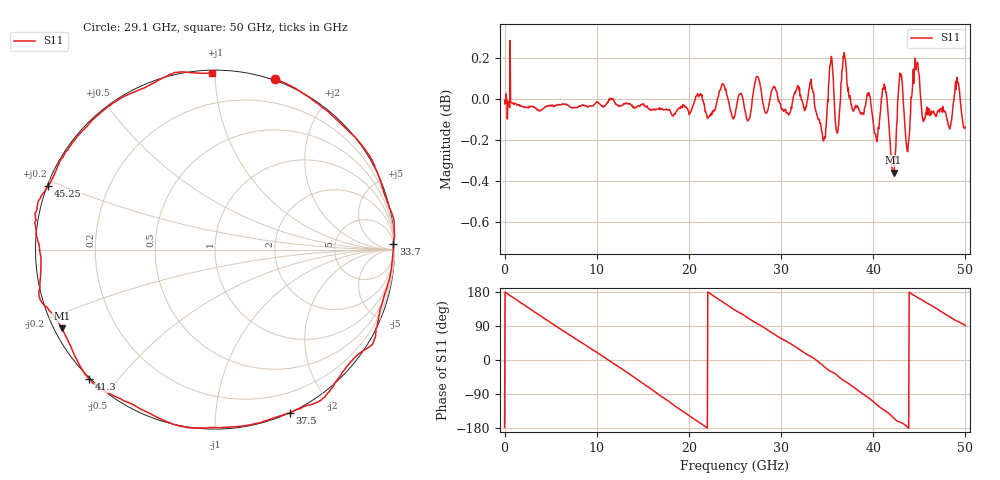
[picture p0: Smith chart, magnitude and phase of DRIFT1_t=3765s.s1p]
!Created with skrf (http://scikit-rf.org).
# Hz S RI R 50.0
!freq ReS11 ImS11
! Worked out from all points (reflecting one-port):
!   1001 points, 300 kHz to 50 GHz, reference 50 ohm
!   lowest |S11| = -0.4 dB at 42.2 GHz (marker M1), VSWR 48.56, Z = 1.09 - j12.1 ohm
!   phase of S11 starts at -178 deg and turns -811 deg over the sweep
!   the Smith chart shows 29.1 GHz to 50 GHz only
!   S11 on the Smith chart (normalised r, x): 29.1 GHz: -0.01, +1.41; 33.7 GHz: 10, +61; 37.5 GHz: -0.00, -1.56; 41.3 GHz: -0.00, -0.42; 45.25 GHz: 0.00, +0.19; 50 GHz: 0.02, +0.98
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300000  -0.9965 -0.0362
1.60029e9  -0.893 0.4424
3.40028e9  -0.5595 0.8221
6.250262e9  0.1958 0.9778
7.850253e9  0.5917 0.8002
9.550243e9  0.8897 0.4479
1.110023e10  0.9967 0.044
1.250022e10  0.9364 -0.3399
1.415022e10  0.6764 -0.7298
1.580021e10  0.2561 -0.9604
1.73002e10  -0.1842 -0.9768
1.875019e10  -0.5836 -0.8047
2.165017e10  -0.9909 -0.1137
2.350016e10  -0.9203 0.4077
2.500015e10  -0.6563 0.7434
2.725014e10  -0.146 1
2.910013e10  0.3333 0.9493
3.125011e10  0.7687 0.6372
3.37001e10  0.9944 0.0315
3.555009e10  0.8675 -0.5361
3.750008e10  0.4189 -0.91
3.945006e10  -0.1601 -0.9905
4.130005e10  -0.7008 -0.7229
4.220005e10  -0.8537 -0.4383
4.375004e10  -0.9701 -0.0384
4.525003e10  -0.9284 0.3568
4.770001e10  -0.5384 0.8341
5e10  -0.0187 0.9842
